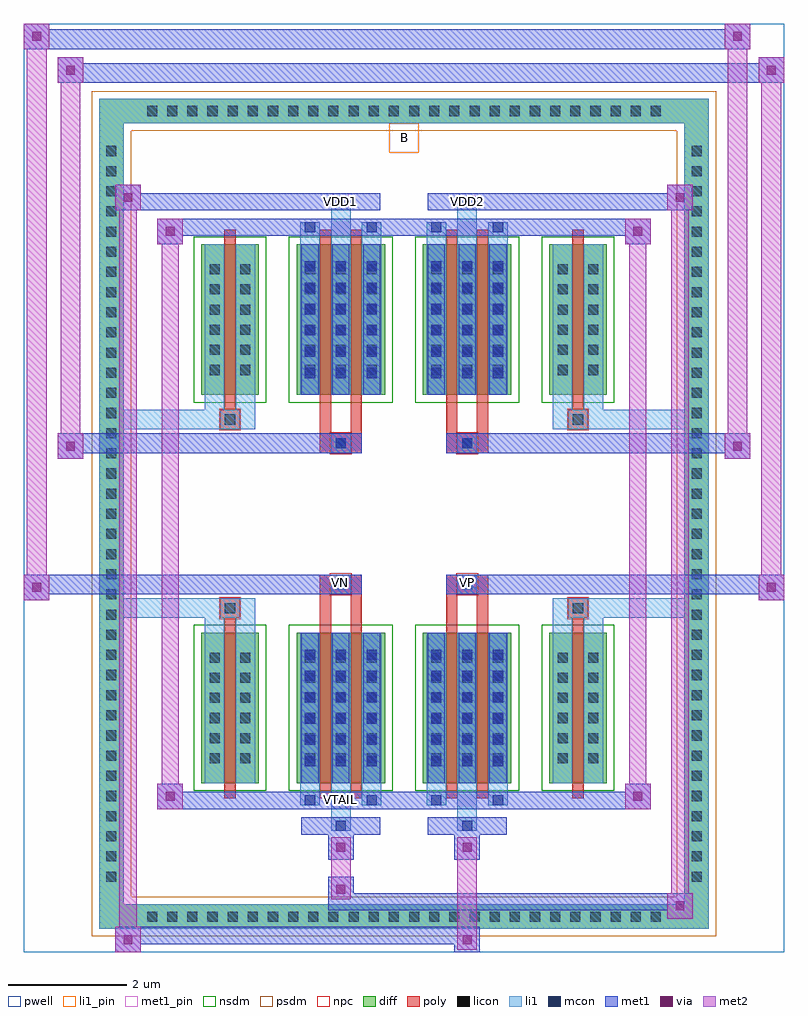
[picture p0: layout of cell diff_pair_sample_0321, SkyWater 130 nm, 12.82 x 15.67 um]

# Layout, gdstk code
import gdstk
lib = gdstk.Library(unit=1e-6, precision=5e-09)
def R(c, l, rs):  # rectangles x0, y0, x1, y1
    for r in rs: c.add(gdstk.rectangle(r[:2], r[2:], *l))
def A(c, l, x, y, w, h, nx, ny, dx, dy):  # array of equal rectangles
    R(c, l, [(x+i*dx, y+j*dy, x+i*dx+w, y+j*dy+h) for i in range(nx) for j in range(ny)])
def P(c, l, *ps):  # polygons
    for p in ps: c.add(gdstk.Polygon(p, *l))
pwell = (64, 44)
diff = (65, 20)
poly = (66, 20)
licon = (66, 44)
li1_pin = (67, 16)
li1 = (67, 20)
mcon = (67, 44)
met1_pin = (68, 16)
met1 = (68, 20)
via = (68, 44)
met2 = (69, 20)
nsdm = (93, 44)
psdm = (94, 20)
npc = (95, 20)

diff_pair_sample_0321 = lib.new_cell('diff_pair_sample_0321')
R(diff_pair_sample_0321, pwell, [(-6.41,-7.4,6.41,8.27), (-3.73,-5.59,-0.01,-0.825), (0.01,-5.59,3.73,-0.825), (-3.73,0.825,-0.01,5.59), (0.01,0.825,3.73,5.59)])
A(diff_pair_sample_0321, diff, -4.455, -7, 0.41, 0.41, 26, 2, 0.34, 13.59)
A(diff_pair_sample_0321, diff, -5.14, -6.325, 0.41, 0.41, 1, 37, 0, 0.34)
A(diff_pair_sample_0321, diff, 4.73, -6.325, 0.41, 0.41, 1, 37, 0, 0.34)
R(diff_pair_sample_0321, diff, [(-4.455,-7,4.455,-6.59), (-5.14,-6.325,-4.73,6.325), (4.73,-6.325,5.14,6.325), (-3.42,-4.545,-2.45,-2.005), (-1.81,-4.545,-0.32,-2.005), (0.32,-4.545,1.81,-2.005), (2.45,-4.545,3.42,-2.005), (-3.42,2.005,-2.45,4.545), (-1.81,2.005,-0.32,4.545), (0.32,2.005,1.81,4.545), (2.45,2.005,3.42,4.545), (-4.455,6.59,4.455,7)])
P(diff_pair_sample_0321, diff, [(5.14,7),(-5.14,7),(-5.14,-6.59),(-4.73,-6.59),(-4.73,6.59),(4.73,6.59),(4.73,-6.59),(-4.73,-6.59),(-5.14,-6.59),(-5.14,-7),(5.14,-7)])
R(diff_pair_sample_0321, poly, [(-3.03,-4.795,-2.84,-1.755), (-1.42,-4.795,-1.23,-1.755), (-0.9,-4.795,-0.71,-1.755), (0.71,-4.795,0.9,-1.755), (1.23,-4.795,1.42,-1.755), (2.84,-4.795,3.03,-1.755), (-3.1,-1.755,-2.77,-1.425), (-3.1,-1.755,-2.77,-1.425), (-1.42,-1.755,-1.23,-1.355), (-0.9,-1.755,-0.71,-1.355), (0.71,-1.755,0.9,-1.355), (1.23,-1.755,1.42,-1.355), (2.77,-1.755,3.1,-1.425), (2.77,-1.755,3.1,-1.425), (-1.42,-1.355,-0.71,-1.025), (-1.23,-1.355,-0.9,-1.025), (0.71,-1.355,1.42,-1.025), (0.9,-1.355,1.23,-1.025), (-1.42,1.025,-0.71,1.355), (-1.23,1.025,-0.9,1.355), (0.71,1.025,1.42,1.355), (0.9,1.025,1.23,1.355), (-1.42,1.355,-1.23,1.755), (-0.9,1.355,-0.71,1.755), (0.71,1.355,0.9,1.755), (1.23,1.355,1.42,1.755), (-3.1,1.425,-2.77,1.755), (-3.1,1.425,-2.77,1.755), (2.77,1.425,3.1,1.755), (2.77,1.425,3.1,1.755), (-3.03,1.755,-2.84,4.795), (-1.42,1.755,-1.23,4.795), (-0.9,1.755,-0.71,4.795), (0.71,1.755,0.9,4.795), (1.23,1.755,1.42,4.795), (2.84,1.755,3.03,4.795)])
A(diff_pair_sample_0321, licon, -4.335, -6.88, 0.17, 0.17, 26, 2, 0.34, 13.59)
A(diff_pair_sample_0321, licon, -5.02, -6.205, 0.17, 0.17, 1, 37, 0, 0.34)
A(diff_pair_sample_0321, licon, 4.85, -6.205, 0.17, 0.17, 1, 37, 0, 0.34)
A(diff_pair_sample_0321, licon, -3.28, -4.21, 0.17, 0.17, 1, 6, 0, 0.34)
A(diff_pair_sample_0321, licon, -2.76, -4.21, 0.17, 0.17, 1, 6, 0, 0.34)
A(diff_pair_sample_0321, licon, -1.67, -4.21, 0.17, 0.17, 3, 6, 0.52, 0.34)
A(diff_pair_sample_0321, licon, 0.46, -4.21, 0.17, 0.17, 3, 6, 0.52, 0.34)
A(diff_pair_sample_0321, licon, 2.59, -4.21, 0.17, 0.17, 1, 6, 0, 0.34)
A(diff_pair_sample_0321, licon, 3.11, -4.21, 0.17, 0.17, 1, 6, 0, 0.34)
A(diff_pair_sample_0321, licon, -3.28, 2.34, 0.17, 0.17, 1, 6, 0, 0.34)
A(diff_pair_sample_0321, licon, -2.76, 2.34, 0.17, 0.17, 1, 6, 0, 0.34)
A(diff_pair_sample_0321, licon, -1.67, 2.34, 0.17, 0.17, 3, 6, 0.52, 0.34)
A(diff_pair_sample_0321, licon, 0.46, 2.34, 0.17, 0.17, 3, 6, 0.52, 0.34)
A(diff_pair_sample_0321, licon, 2.59, 2.34, 0.17, 0.17, 1, 6, 0, 0.34)
A(diff_pair_sample_0321, licon, 3.11, 2.34, 0.17, 0.17, 1, 6, 0, 0.34)
R(diff_pair_sample_0321, licon, [(-3.02,-1.675,-2.85,-1.505), (2.85,-1.675,3.02,-1.505), (-1.15,-1.275,-0.98,-1.105), (0.98,-1.275,1.15,-1.105), (-1.15,1.105,-0.98,1.275), (0.98,1.105,1.15,1.275), (-3.02,1.505,-2.85,1.675), (2.85,1.505,3.02,1.675)])
R(diff_pair_sample_0321, li1_pin, [(-0.25,6.09,0.25,6.59)])
A(diff_pair_sample_0321, li1, -4.415, -6.96, 0.33, 0.33, 26, 2, 0.34, 13.59)
A(diff_pair_sample_0321, li1, -5.1, -6.285, 0.33, 0.33, 1, 37, 0, 0.34)
A(diff_pair_sample_0321, li1, 4.77, -6.285, 0.33, 0.33, 1, 37, 0, 0.34)
A(diff_pair_sample_0321, li1, -1.75, -4.545, 0.33, 2.54, 3, 2, 0.52, 6.55)
A(diff_pair_sample_0321, li1, 0.38, -4.545, 0.33, 2.54, 3, 2, 0.52, 6.55)
A(diff_pair_sample_0321, li1, -3.36, -4.29, 0.33, 0.33, 1, 6, 0, 0.34)
A(diff_pair_sample_0321, li1, -2.84, -4.29, 0.33, 0.33, 1, 6, 0, 0.34)
A(diff_pair_sample_0321, li1, -1.75, -4.29, 0.33, 0.33, 3, 6, 0.52, 0.34)
A(diff_pair_sample_0321, li1, 0.38, -4.29, 0.33, 0.33, 3, 6, 0.52, 0.34)
A(diff_pair_sample_0321, li1, 2.51, -4.29, 0.33, 0.33, 1, 6, 0, 0.34)
A(diff_pair_sample_0321, li1, 3.03, -4.29, 0.33, 0.33, 1, 6, 0, 0.34)
A(diff_pair_sample_0321, li1, -1.67, -4.26, 0.17, 0.17, 3, 6, 0.52, 0.36)
A(diff_pair_sample_0321, li1, -1.67, -4.26, 0.17, 1.97, 3, 2, 0.52, 6.55)
A(diff_pair_sample_0321, li1, 0.46, -4.26, 0.17, 0.17, 3, 6, 0.52, 0.36)
A(diff_pair_sample_0321, li1, 0.46, -4.26, 0.17, 1.97, 3, 2, 0.52, 6.55)
A(diff_pair_sample_0321, li1, -3.36, 2.26, 0.33, 0.33, 1, 6, 0, 0.34)
A(diff_pair_sample_0321, li1, -2.84, 2.26, 0.33, 0.33, 1, 6, 0, 0.34)
A(diff_pair_sample_0321, li1, -1.75, 2.26, 0.33, 0.33, 3, 6, 0.52, 0.34)
A(diff_pair_sample_0321, li1, 0.38, 2.26, 0.33, 0.33, 3, 6, 0.52, 0.34)
A(diff_pair_sample_0321, li1, 2.51, 2.26, 0.33, 0.33, 1, 6, 0, 0.34)
A(diff_pair_sample_0321, li1, 3.03, 2.26, 0.33, 0.33, 1, 6, 0, 0.34)
A(diff_pair_sample_0321, li1, -1.67, 2.29, 0.17, 0.17, 3, 6, 0.52, 0.36)
A(diff_pair_sample_0321, li1, 0.46, 2.29, 0.17, 0.17, 3, 6, 0.52, 0.36)
R(diff_pair_sample_0321, li1, [(-5.14,-7,-4.73,-6.59), (-5.14,-7,-4.73,-6.59), (-4.73,-7,4.73,-6.59), (4.73,-7,5.14,-6.59), (4.73,-7,5.14,-6.59), (-5.14,-6.59,-4.73,6.59), (4.73,-6.59,5.14,6.59), (-1.23,-5.35,-0.9,-4.545), (-1.15,-5.35,-0.98,-5.18), (0.9,-5.35,1.23,-4.545), (0.98,-5.35,1.15,-5.18), (-1.75,-4.92,-1.42,-4.545), (-1.67,-4.92,-1.5,-4.75), (-0.71,-4.92,-0.38,-4.545), (-0.63,-4.92,-0.46,-4.75), (0.38,-4.92,0.71,-4.545), (0.46,-4.92,0.63,-4.75), (1.42,-4.92,1.75,-4.545), (1.5,-4.92,1.67,-4.75), (-3.36,-4.545,-3.03,-2.005), (-2.84,-4.545,-2.51,-2.005), (2.51,-4.545,2.84,-2.005), (3.03,-4.545,3.36,-2.005), (-3.36,-2.005,-3.03,-1.425), (-2.84,-2.005,-2.51,-1.425), (2.51,-2.005,2.84,-1.425), (3.03,-2.005,3.36,-1.425), (-5.14,-1.755,-3.1,-1.425), (-3.36,-1.755,-3.1,-1.425), (-3.1,-1.755,-2.77,-1.425), (-2.77,-1.755,-2.51,-1.425), (2.51,-1.755,2.77,-1.425), (2.77,-1.755,3.1,-1.425), (2.77,-1.755,5.14,-1.425), (3.1,-1.755,3.36,-1.425), (-1.23,-1.355,-0.9,-1.025), (0.9,-1.355,1.23,-1.025), (-1.23,1.025,-0.9,1.355), (0.9,1.025,1.23,1.355), (-5.14,1.425,-3.1,1.755), (-3.36,1.425,-3.1,1.755), (-3.36,1.425,-3.03,2.005), (-3.1,1.425,-2.77,1.755), (-2.84,1.425,-2.51,2.005), (-2.77,1.425,-2.51,1.755), (2.51,1.425,2.77,1.755), (2.51,1.425,2.84,2.005), (2.77,1.425,3.1,1.755), (2.77,1.425,5.14,1.755), (3.03,1.425,3.36,2.005), (3.1,1.425,3.36,1.755), (-3.36,2.005,-3.03,4.545), (-2.84,2.005,-2.51,4.545), (2.51,2.005,2.84,4.545), (3.03,2.005,3.36,4.545), (-1.75,4.545,-1.42,4.92), (-1.23,4.545,-0.9,5.35), (-0.71,4.545,-0.38,4.92), (0.38,4.545,0.71,4.92), (0.9,4.545,1.23,5.35), (1.42,4.545,1.75,4.92), (-1.67,4.75,-1.5,4.92), (-0.63,4.75,-0.46,4.92), (0.46,4.75,0.63,4.92), (1.5,4.75,1.67,4.92), (-1.15,5.18,-0.98,5.35), (0.98,5.18,1.15,5.35), (-5.14,6.59,-4.73,7), (-5.14,6.59,-4.73,7), (-4.73,6.59,4.73,7), (4.73,6.59,5.14,7), (4.73,6.59,5.14,7)])
A(diff_pair_sample_0321, mcon, -1.67, -4.26, 0.17, 0.17, 3, 6, 0.52, 0.36)
A(diff_pair_sample_0321, mcon, 0.46, -4.26, 0.17, 0.17, 3, 6, 0.52, 0.36)
A(diff_pair_sample_0321, mcon, -1.67, 2.29, 0.17, 0.17, 3, 6, 0.52, 0.36)
A(diff_pair_sample_0321, mcon, 0.46, 2.29, 0.17, 0.17, 3, 6, 0.52, 0.36)
R(diff_pair_sample_0321, mcon, [(-1.15,-5.35,-0.98,-5.18), (0.98,-5.35,1.15,-5.18), (-1.67,-4.92,-1.5,-4.75), (-0.63,-4.92,-0.46,-4.75), (0.46,-4.92,0.63,-4.75), (1.5,-4.92,1.67,-4.75), (-1.15,-1.275,-0.98,-1.105), (0.98,-1.275,1.15,-1.105), (-1.15,1.105,-0.98,1.275), (0.98,1.105,1.15,1.275), (-1.67,4.75,-1.5,4.92), (-0.63,4.75,-0.46,4.92), (0.46,4.75,0.63,4.92), (1.5,4.75,1.67,4.92), (-1.15,5.18,-0.98,5.35), (0.98,5.18,1.15,5.35)])
R(diff_pair_sample_0321, met1_pin, [(-1.2,-4.96,-0.93,-4.69), (-1.2,-1.295,-0.93,-1.025), (0.93,-1.295,1.2,-1.025), (-1.2,5.14,-0.93,5.41), (0.93,5.14,1.2,5.41)])
A(diff_pair_sample_0321, met1, -1.73, -4.545, 0.29, 2.54, 3, 2, 0.52, 6.55)
A(diff_pair_sample_0321, met1, 0.4, -4.545, 0.29, 2.54, 3, 2, 0.52, 6.55)
A(diff_pair_sample_0321, met1, -1.73, -4.32, 0.29, 0.29, 3, 6, 0.52, 0.36)
A(diff_pair_sample_0321, met1, 0.4, -4.32, 0.29, 0.29, 3, 6, 0.52, 0.36)
A(diff_pair_sample_0321, met1, -1.73, 2.23, 0.29, 0.29, 3, 6, 0.52, 0.36)
A(diff_pair_sample_0321, met1, 0.4, 2.23, 0.29, 0.29, 3, 6, 0.52, 0.36)
R(diff_pair_sample_0321, met1, [(-4.87,-7.4,-4.44,-6.97), (0.85,-7.4,1.28,-6.97), (-4.87,-7.26,1.28,-6.97), (4.44,-6.83,4.87,-6.4), (-1.28,-6.69,4.87,-6.4), (-1.28,-6.55,-0.85,-6.12), (-1.28,-5.84,-0.85,-5.41), (0.85,-5.84,1.28,-5.41), (-1.73,-5.41,-0.4,-5.12), (-1.21,-5.41,-0.92,-5.12), (0.4,-5.41,1.73,-5.12), (0.92,-5.41,1.21,-5.12), (-4.16,-4.98,-3.73,-4.55), (-4.16,-4.98,-1.73,-4.69), (-1.73,-4.98,-1.44,-4.69), (-1.73,-4.98,-0.4,-4.69), (-0.69,-4.98,-0.4,-4.69), (-0.4,-4.98,0.4,-4.69), (0.4,-4.98,0.69,-4.69), (0.4,-4.98,1.73,-4.69), (1.44,-4.98,1.73,-4.69), (1.73,-4.98,4.16,-4.69), (3.73,-4.98,4.16,-4.55), (-6.41,-1.455,-5.98,-1.025), (5.98,-1.455,6.41,-1.025), (-6.41,-1.355,-0.71,-1.025), (-1.42,-1.355,-0.71,-1.025), (0.71,-1.355,1.42,-1.025), (0.71,-1.355,6.41,-1.025), (-1.21,-1.335,-0.92,-1.045), (0.92,-1.335,1.21,-1.045), (-5.84,0.925,-5.41,1.355), (5.41,0.925,5.84,1.355), (-5.84,1.025,-1.42,1.355), (-1.42,1.025,-0.71,1.355), (0.71,1.025,1.42,1.355), (1.42,1.025,5.84,1.355), (-1.21,1.045,-0.92,1.335), (0.92,1.045,1.21,1.335), (-4.16,4.55,-3.73,4.98), (3.73,4.55,4.16,4.98), (-4.16,4.69,-1.73,4.98), (-1.73,4.69,-1.44,4.98), (-1.73,4.69,-0.4,4.98), (-0.69,4.69,-0.4,4.98), (-0.4,4.69,0.4,4.98), (0.4,4.69,0.69,4.98), (0.4,4.69,1.73,4.98), (1.44,4.69,1.73,4.98), (1.73,4.69,4.16,4.98), (-4.87,5.12,-4.44,5.55), (-4.87,5.12,-1.73,5.41), (-1.73,5.12,-0.4,5.41), (-1.21,5.12,-0.92,5.41), (0.4,5.12,1.73,5.41), (0.92,5.12,1.21,5.41), (1.73,5.12,4.87,5.41), (4.44,5.12,4.87,5.55), (-5.84,7.27,-5.41,7.7), (-5.84,7.27,-3.73,7.6), (-3.73,7.27,3.73,7.6), (3.73,7.27,6.41,7.6), (5.98,7.27,6.41,7.7), (-6.41,7.84,-5.98,8.27), (-6.41,7.84,-3.73,8.17), (-3.73,7.84,3.73,8.17), (3.73,7.84,5.84,8.17), (5.41,7.84,5.84,8.27)])
R(diff_pair_sample_0321, via, [(-4.73,-7.26,-4.58,-7.11), (0.99,-7.26,1.14,-7.11), (4.58,-6.69,4.73,-6.54), (-1.14,-6.41,-0.99,-6.26), (-1.14,-5.7,-0.99,-5.55), (0.99,-5.7,1.14,-5.55), (-4.02,-4.84,-3.87,-4.69), (3.87,-4.84,4.02,-4.69), (-6.27,-1.315,-6.12,-1.165), (6.12,-1.315,6.27,-1.165), (-5.7,1.065,-5.55,1.215), (5.55,1.065,5.7,1.215), (-4.02,4.69,-3.87,4.84), (3.87,4.69,4.02,4.84), (-4.73,5.26,-4.58,5.41), (4.58,5.26,4.73,5.41), (-5.7,7.41,-5.55,7.56), (6.12,7.41,6.27,7.56), (-6.27,7.98,-6.12,8.13), (5.55,7.98,5.7,8.13)])
R(diff_pair_sample_0321, met2, [(-4.87,-7.4,-4.44,-6.97), (-4.8,-7.4,-4.51,5.55), (-4.51,-7.4,-4.44,-6.97), (-4.82,-7.35,-4.49,-7.02), (0.9,-7.35,1.23,-7.02), (0.9,-7.02,1.23,-5.79), (4.44,-6.83,4.87,-6.4), (4.51,-6.83,4.8,5.55), (4.8,-6.83,4.87,-6.4), (4.49,-6.78,4.82,-6.45), (-1.23,-6.5,-0.9,-6.17), (-1.23,-6.17,-0.9,-5.79), (-1.23,-5.79,-0.9,-5.46), (0.9,-5.79,1.23,-5.46), (-4.16,-4.98,-3.73,-4.55), (-4.09,-4.98,-3.8,4.98), (-3.8,-4.98,-3.73,-4.55), (3.73,-4.98,4.16,-4.55), (3.8,-4.98,4.09,4.98), (4.09,-4.98,4.16,-4.55), (-4.11,-4.93,-3.78,-4.6), (3.78,-4.93,4.11,-4.6), (-6.41,-1.455,-5.98,-1.025), (-6.36,-1.455,-6.03,8.27), (-6.03,-1.455,-5.98,-1.025), (5.98,-1.455,6.41,-1.025), (6.03,-1.455,6.36,7.7), (6.36,-1.455,6.41,-1.025), (-6.36,-1.405,-6.03,-1.075), (6.03,-1.405,6.36,-1.075), (-5.84,0.925,-5.41,1.355), (-5.79,0.925,-5.46,7.7), (-5.46,0.925,-5.41,1.355), (5.41,0.925,5.84,1.355), (5.46,0.925,5.79,8.27), (5.79,0.925,5.84,1.355), (-5.79,0.975,-5.46,1.305), (5.46,0.975,5.79,1.305), (-4.16,4.55,-3.73,4.98), (-3.8,4.55,-3.73,4.98), (3.73,4.55,4.16,4.98), (4.09,4.55,4.16,4.98), (-4.11,4.6,-3.78,4.93), (3.78,4.6,4.11,4.93), (-4.87,5.12,-4.44,5.55), (-4.51,5.12,-4.44,5.55), (4.44,5.12,4.87,5.55), (4.8,5.12,4.87,5.55), (-4.82,5.17,-4.49,5.5), (4.49,5.17,4.82,5.5), (-5.84,7.27,-5.41,7.7), (-5.46,7.27,-5.41,7.7), (5.98,7.27,6.41,7.7), (6.36,7.27,6.41,7.7), (-5.79,7.32,-5.46,7.65), (6.03,7.32,6.36,7.65), (-6.41,7.84,-5.98,8.27), (-6.03,7.84,-5.98,8.27), (5.41,7.84,5.84,8.27), (5.79,7.84,5.84,8.27), (-6.36,7.89,-6.03,8.22), (5.46,7.89,5.79,8.22)])
R(diff_pair_sample_0321, nsdm, [(-3.55,-4.675,-2.32,-1.875), (-1.94,-4.675,-0.19,-1.875), (0.19,-4.675,1.94,-1.875), (2.32,-4.675,3.55,-1.875), (-3.55,1.875,-2.32,4.675), (-1.94,1.875,-0.19,4.675), (0.19,1.875,1.94,4.675), (2.32,1.875,3.55,4.675)])
P(diff_pair_sample_0321, psdm, [(5.27,7.13),(-5.27,7.13),(-5.27,-6.46),(-4.6,-6.46),(-4.6,6.46),(4.6,6.46),(4.6,-6.46),(-4.6,-6.46),(-5.27,-6.46),(-5.27,-7.13),(5.27,-7.13)])
R(diff_pair_sample_0321, npc, [(-3.12,-1.775,-2.75,-1.405), (2.75,-1.775,3.12,-1.405), (-1.25,-1.375,-0.88,-1.005), (0.88,-1.375,1.25,-1.005), (-1.25,1.005,-0.88,1.375), (0.88,1.005,1.25,1.375), (-3.12,1.405,-2.75,1.775), (2.75,1.405,3.12,1.775)])
diff_pair_sample_0321.add(gdstk.Label('VTAIL', (-1.065,-4.825), layer=68, texttype=5))
diff_pair_sample_0321.add(gdstk.Label('VN', (-1.065,-1.16), layer=68, texttype=5))
diff_pair_sample_0321.add(gdstk.Label('VP', (1.065,-1.16), layer=68, texttype=5))
diff_pair_sample_0321.add(gdstk.Label('B', (0,6.34), layer=67, texttype=5))
diff_pair_sample_0321.add(gdstk.Label('VDD2', (1.065,5.275), layer=68, texttype=5))
diff_pair_sample_0321.add(gdstk.Label('VDD1', (-1.065,5.275), layer=68, texttype=5))

lib.write_gds('diff_pair_sample_0321.gds')
